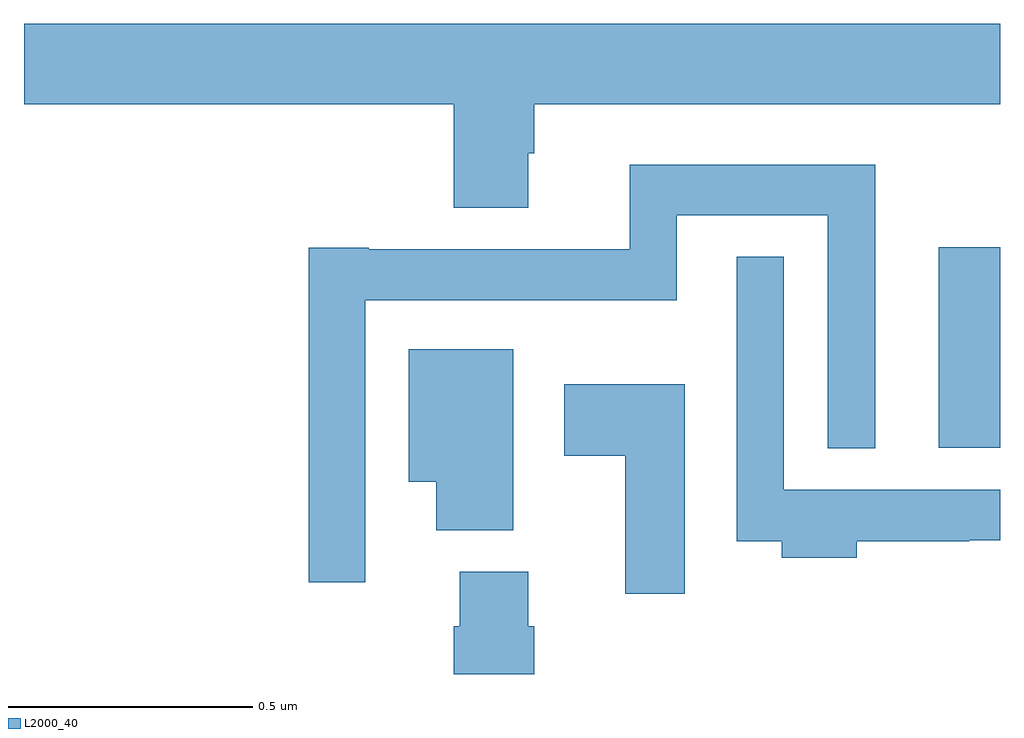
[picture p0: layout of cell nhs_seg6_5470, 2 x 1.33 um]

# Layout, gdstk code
import gdstk
lib = gdstk.Library(unit=1e-6, precision=1e-09)
def R(c, l, rs):  # rectangles x0, y0, x1, y1
    for r in rs: c.add(gdstk.rectangle(r[:2], r[2:], *l))
def P(c, l, *ps):  # polygons
    for p in ps: c.add(gdstk.Polygon(p, *l))
L2000_40 = (2000, 40)

nhs_seg6_5470 = lib.new_cell('nhs_seg6_5470')
R(nhs_seg6_5470, L2000_40, [(184.874,947.964,185,948.375)])
P(nhs_seg6_5470, L2000_40, [(184.033,948.567),(184.046,948.567),(184.046,948.668),(185,948.668),(185,948.832),(183,948.832),(183,948.668),(183.881,948.668),(183.881,948.455),(184.033,948.455)],
  [(183.699,948.266),(184.338,948.266),(184.338,948.44),(184.647,948.44),(184.647,947.963),(184.744,947.963),(184.744,948.544),(184.241,948.544),(184.241,948.37),(183.706,948.37),(183.706,948.373),(183.583,948.373),(183.583,947.688),(183.699,947.688)],
  [(184.706,947.772),(184.937,947.772),(184.937,947.774),(185,947.774),(185,947.878),(184.557,947.878),(184.557,948.355),(184.461,948.355),(184.461,947.772),(184.553,947.772),(184.553,947.738),(184.706,947.738)],
  [(184.003,948.166),(183.788,948.166),(183.788,947.894),(183.845,947.894),(183.845,947.795),(184.003,947.795)],
  [(184.354,948.094),(184.107,948.094),(184.107,947.947),(184.232,947.947),(184.232,947.664),(184.354,947.664)],
  [(184.046,947.598),(184.033,947.598),(184.033,947.71),(183.893,947.71),(183.893,947.598),(183.881,947.598),(183.881,947.5),(184.046,947.5)])

lib.write_gds('nhs_seg6_5470.gds')
